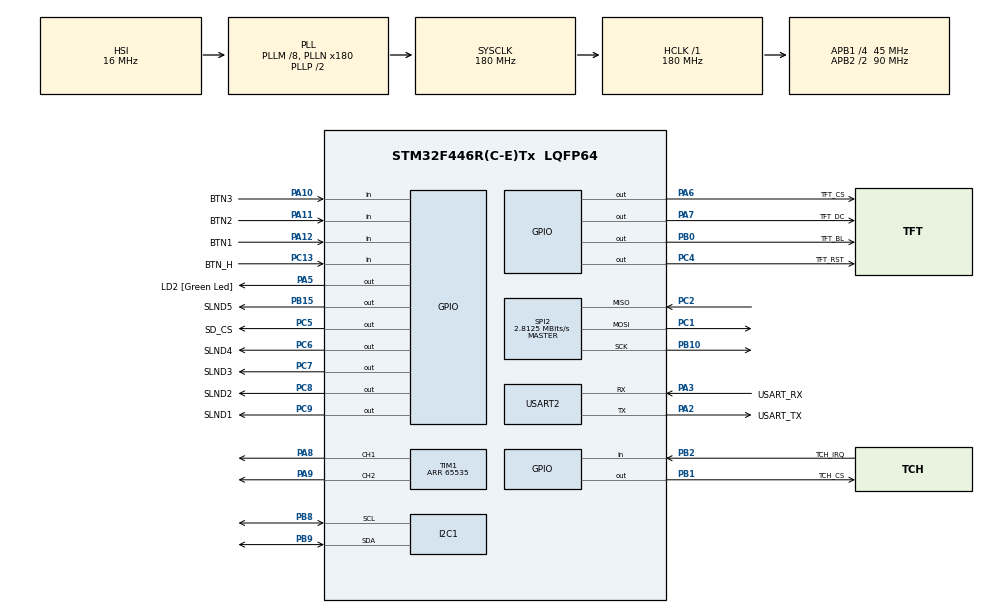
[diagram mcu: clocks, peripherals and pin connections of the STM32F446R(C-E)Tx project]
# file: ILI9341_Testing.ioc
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Dma.Request0=SPI2_TX
Dma.SPI2_TX.0.Direction=DMA_MEMORY_TO_PERIPH
Dma.SPI2_TX.0.FIFOMode=DMA_FIFOMODE_DISABLE
Dma.SPI2_TX.0.Instance=DMA1_Stream4
Dma.SPI2_TX.0.MemDataAlignment=DMA_MDATAALIGN_BYTE
Dma.SPI2_TX.0.MemInc=DMA_MINC_ENABLE
Dma.SPI2_TX.0.Mode=DMA_NORMAL
Dma.SPI2_TX.0.PeriphDataAlignment=DMA_PDATAALIGN_BYTE
Dma.SPI2_TX.0.PeriphInc=DMA_PINC_DISABLE
Dma.SPI2_TX.0.Priority=DMA_PRIORITY_LOW
I2C1.I2C_Mode=I2C_Fast
Mcu.Family=STM32F4
Mcu.Name=STM32F446R(C-E)Tx
Mcu.Package=LQFP64
NVIC.DMA1_Stream4_IRQn=true\:0\:0\:false\:false\:true\:false\:true\:true
NVIC.PriorityGroup=NVIC_PRIORITYGROUP_0
NVIC.TIM3_IRQn=true\:0\:0\:false\:false\:true\:true\:true\:true
NVIC.USART2_IRQn=true\:0\:0\:false\:false\:true\:true\:true\:true
PA10.GPIO_Label=BTN3
PA10.Signal=GPIO_Input
PA11.GPIO_Label=BTN2
PA11.Signal=GPIO_Input
PA12.GPIO_Label=BTN1
PA12.Signal=GPIO_Input
PA13.GPIO_Label=TMS
PA13.Mode=Serial_Wire
PA13.Signal=SYS_JTMS-SWDIO
PA14.GPIO_Label=TCK
PA14.Mode=Serial_Wire
PA14.Signal=SYS_JTCK-SWCLK
PA2.GPIO_Label=USART_TX
PA2.Mode=Asynchronous
PA2.Signal=USART2_TX
PA3.GPIO_Label=USART_RX
PA3.Mode=Asynchronous
PA3.Signal=USART2_RX
PA5.GPIO_Label=LD2 [Green Led]
PA5.Signal=GPIO_Output
PA6.GPIO_Label=TFT_CS
PA6.Signal=GPIO_Output
PA7.GPIO_Label=TFT_DC
PA7.Signal=GPIO_Output
PA8.Signal=S_TIM1_CH1
PA9.Signal=S_TIM1_CH2
PB0.GPIO_Label=TFT_BL
PB0.Signal=GPIO_Output
PB1.GPIO_Label=TCH_CS
PB1.Signal=GPIO_Output
PB10.Mode=Full_Duplex_Master
PB10.Signal=SPI2_SCK
PB15.GPIO_Label=SLND5
PB15.Signal=GPIO_Output
PB2.GPIO_Label=TCH_IRQ
PB2.GPIO_PuPd=GPIO_PULLUP
PB2.Signal=GPIO_Input
PB3.GPIO_Label=SWO
PB3.Signal=SYS_JTDO-SWO
PB8.Mode=I2C
PB8.Signal=I2C1_SCL
PB9.Mode=I2C
PB9.Signal=I2C1_SDA
PC1.Mode=Full_Duplex_Master
PC1.Signal=SPI2_MOSI
PC13.GPIO_Label=BTN_H
PC13.Signal=GPIO_Input
PC14-OSC32_IN.Mode=LSE-External-Oscillator
PC14-OSC32_IN.Signal=RCC_OSC32_IN
PC15-OSC32_OUT.Mode=LSE-External-Oscillator
PC15-OSC32_OUT.Signal=RCC_OSC32_OUT
PC2.Mode=Full_Duplex_Master
PC2.Signal=SPI2_MISO
PC4.GPIO_Label=TFT_RST
PC4.Signal=GPIO_Output
PC5.GPIO_Label=SD_CS
PC5.Signal=GPIO_Output
PC6.GPIO_Label=SLND4
PC6.Signal=GPIO_Output
PC7.GPIO_Label=SLND3
PC7.Signal=GPIO_Output
PC8.GPIO_Label=SLND2
PC8.Signal=GPIO_Output
PC9.GPIO_Label=SLND1
PC9.Signal=GPIO_Output
PH0-OSC_IN.Mode=HSE-External-Oscillator
PH0-OSC_IN.Signal=RCC_OSC_IN
PH1-OSC_OUT.Mode=HSE-External-Oscillator
PH1-OSC_OUT.Signal=RCC_OSC_OUT
ProjectManager.HeapSize=0x200
ProjectManager.StackSize=0x400
ProjectManager.TargetToolchain=CMake
RCC.48MHZClocksFreq_Value=84000000
RCC.AHBFreq_Value=180000000
RCC.APB1CLKDivider=RCC_HCLK_DIV4
RCC.APB1Freq_Value=45000000
RCC.APB1TimFreq_Value=90000000
RCC.APB2CLKDivider=RCC_HCLK_DIV2
RCC.APB2Freq_Value=90000000
RCC.APB2TimFreq_Value=180000000
RCC.CortexFreq_Value=180000000
RCC.FLatency-AdvancedSettings=FLASH_LATENCY_5
RCC.HCLKFreq_Value=180000000
RCC.HSE_VALUE=8000000
RCC.HSI_VALUE=16000000
RCC.PLLM=8
RCC.PLLN=180
RCC.SYSCLKFreq_VALUE=180000000
RCC.SYSCLKSource=RCC_SYSCLKSOURCE_PLLCLK
RCC.USBFreq_Value=180000000
RCC.VCOOutputFreq_Value=360000000
SH.S_TIM1_CH1.0=TIM1_CH1,PWM Generation1 CH1
SH.S_TIM1_CH2.0=TIM1_CH2,PWM Generation2 CH2
SPI2.BaudRatePrescaler=SPI_BAUDRATEPRESCALER_16
SPI2.CalculateBaudRate=2.8125 MBits/s
SPI2.Direction=SPI_DIRECTION_2LINES
SPI2.Mode=SPI_MODE_MASTER
SPI2.VirtualType=VM_MASTER
TIM1.Channel-PWM\ Generation1\ CH1=TIM_CHANNEL_1
TIM1.Channel-PWM\ Generation2\ CH2=TIM_CHANNEL_2
TIM1.Period=65535
TIM3.Period=99
TIM3.Prescaler=8999
USART2.VirtualMode=VM_ASYNC
VP_TIM1_VS_ClockSourceINT.Mode=Internal
VP_TIM3_VS_ClockSourceINT.Mode=Internal
board=NUCLEO-F446RE

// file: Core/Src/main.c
/* USER CODE BEGIN Header */
/**
  ******************************************************************************
  * @file           : main.c
  * @brief          : Main program body
  ******************************************************************************
  * @attention
  *
  * Copyright (c) 2026 STMicroelectronics.
  * All rights reserved.
  *
  * This software is licensed under terms that can be found in the LICENSE file
  * in the root directory of this software component.
  * If no LICENSE file comes with this software, it is provided AS-IS.
  *
  ******************************************************************************
   * ╔══════════════════════════════════════════════════════════════════════╗
   * ║       2.8" ILI9341 + XPT2046 + SD Card  ──  Nucleo-F446RE            ║
   * ╠══════════════════════════════════════════════════════════════════════╣
   * ║                                                                      ║
   * ║   Module                        STM32          Nucleo Header         ║
   * ║  ┌─────────┐                                                         ║
   * ║  │  T_IRQ  ├──────────────────  PB2            CN10 morpho           ║
   * ║  │  T_OUT  ├────────────────┐   PA6   ┐        CN7  morpho           ║
   * ║  │  T_DIN  ├──────────────┐ │   PA7   ┤        A4   (CN8)            ║
   * ║  │  T_CS   ├──────────────│─│─  PB1            CN10 morpho           ║
   * ║  │  T_CLK  ├────────────┐ │ │   PA5  ┐        D6   (CN5)             ║
   * ║  │  SDO    ├────────────│─│─┘   PA6   ┘ shared with T_OUT            ║
   * ║  │  LED    ├────────────│─│───  PB0            A3   (CN8)            ║
   * ║  │  SCK    ├────────────┘ │     PA5    shared with T_CLK             ║
   * ║  │  SDI    ├──────────────┘     PA7     shared with T_DIN            ║
   * ║  │  DC/RS  ├──────────────────  PA0            D11  (CN9)            ║
   * ║  │  RESET  ├──────────────────  PC4            CN10 morpho           ║
   * ║  │  CS     ├──────────────────  PA1            D12  (CN9)            ║
   * ║  │  GND    ├──────────────────  GND            any GND               ║
   * ║  │  VCC    ├──────────────────  3.3V           CN6  pin 4            ║
   * ║  └─────────┘                                                         ║
   * ║  │  SD_SCK   ├──────────────────  PA5         shared with T_CLK      ║
   * ║  │  SD_MOSI  ├──────────────────  PA7          shared with T_DIN     ║
   * ║  │  SD_MISO  ├──────────────────  PA6          shared with T_OUT     ║
   * ║  │  SD_CS    ├──────────────────  PC5          CN10 morpho           ║
   * ║  SPI2 shared bus:  SCK = PA5  │  MOSI = PA7  │  MISO = PA6           ║
   * ║  Connected These Pins Together Externally:                           ║
   * ║  SDO/T_OUT/SD_MISO  → same wire → PA6                                ║
   * ║  SDI/T_DIN/SD_MOSI  → same wire → PA7                                ║
   * ║  SCK/T_CLK/SD_SCK  → same wire → PA5                                 ║
   * ╚══════════════════════════════════════════════════════════════════════╝

/* USER CODE END Header */
#include "main.h"

/* USER CODE BEGIN Includes */
#include "ili9341.h"
#include "xpt2046.h"
#include "sd_spi.h"
#include <stdio.h>
#include <string.h>
/* USER CODE END Includes */

I2C_HandleTypeDef hi2c1;

SPI_HandleTypeDef hspi2;
DMA_HandleTypeDef hdma_spi2_tx;

TIM_HandleTypeDef htim1;
TIM_HandleTypeDef htim3;

UART_HandleTypeDef huart2;

/* USER CODE BEGIN PV */
static ILI9341_Config lcd_cfg;
static SD_Config      sd_cfg;
static SD_Info        sd_info;
static XPT2046_Config tch_cfg;
/* USER CODE END PV */

void SystemClock_Config(void);
static void MX_GPIO_Init(void);
static void MX_DMA_Init(void);
static void MX_TIM1_Init(void);
static void MX_USART2_UART_Init(void);
static void MX_TIM3_Init(void);
static void MX_I2C1_Init(void);
static void MX_SPI2_Init(void);

/* USER CODE BEGIN 0 */

// UART debug print
static void uprint(const char *s) {
    HAL_UART_Transmit(&huart2, (uint8_t*)s, strlen(s), HAL_MAX_DELAY);
}

// SPI speed control for SD card init (APB1 = 45 MHz)
static void spi_set_slow(void) {
    // ~350 kHz for SD card init (required <= 400 kHz)
    __HAL_SPI_DISABLE(&hspi2);
    MODIFY_REG(hspi2.Instance->CR1, SPI_CR1_BR, SPI_BAUDRATEPRESCALER_128);
    __HAL_SPI_ENABLE(&hspi2);
}
static void spi_set_fast(void) {
    // ~2.8 MHz for SD card data (restore default prescaler 16)
    __HAL_SPI_DISABLE(&hspi2);
    MODIFY_REG(hspi2.Instance->CR1, SPI_CR1_BR, SPI_BAUDRATEPRESCALER_16);
    __HAL_SPI_ENABLE(&hspi2);
}

// SPI2 Shared for LCD, Touchscreen, SD Card
static uint8_t spi2_txrx(uint8_t byte)
{
    uint8_t rx = 0;
    HAL_SPI_TransmitReceive(&hspi2, &byte, &rx, 1, HAL_MAX_DELAY);
    return rx;
}

// LCD GPIO
static void lcd_set_cs(int v)
{
    if (v) HAL_GPIO_WritePin(TFT_CS_GPIO_Port, TFT_CS_Pin, GPIO_PIN_SET);
    else   HAL_GPIO_WritePin(TFT_CS_GPIO_Port, TFT_CS_Pin, GPIO_PIN_RESET);
}

static void lcd_set_dc(int v)
{
    if (v) HAL_GPIO_WritePin(TFT_DC_GPIO_Port, TFT_DC_Pin, GPIO_PIN_SET);
    else   HAL_GPIO_WritePin(TFT_DC_GPIO_Port, TFT_DC_Pin, GPIO_PIN_RESET);
}

static void lcd_set_rst(int v)
{
    if (v) HAL_GPIO_WritePin(TFT_RST_GPIO_Port, TFT_RST_Pin, GPIO_PIN_SET);
    else   HAL_GPIO_WritePin(TFT_RST_GPIO_Port, TFT_RST_Pin, GPIO_PIN_RESET);
}

// SD Card GPIO
static void sd_set_cs(int v)
{
    if (v) HAL_GPIO_WritePin(SD_CS_GPIO_Port,  SD_CS_Pin, GPIO_PIN_SET);
    else   HAL_GPIO_WritePin(SD_CS_GPIO_Port,  SD_CS_Pin, GPIO_PIN_RESET);
}

// Touch Screen GPIO
static void tch_set_cs(int v)
{
    if (v) HAL_GPIO_WritePin(TCH_CS_GPIO_Port, TCH_CS_Pin, GPIO_PIN_SET);
    else   HAL_GPIO_WritePin(TCH_CS_GPIO_Port, TCH_CS_Pin, GPIO_PIN_RESET);
}

static int tch_read_irq(void)
{
    return HAL_GPIO_ReadPin(TCH_IRQ_GPIO_Port, TCH_IRQ_Pin);
}

/* USER CODE END 0 */

int main(void)
{

  /* MCU Configuration--------------------------------------------------------*/

  /* Reset of all peripherals, Initializes the Flash interface and the Systick. */
  HAL_Init();

  /* Configure the system clock */
  SystemClock_Config();

  /* Initialize all configured peripherals */
  MX_GPIO_Init();
  MX_DMA_Init();
  MX_TIM1_Init();
  MX_USART2_UART_Init();
  MX_TIM3_Init();
  MX_I2C1_Init();
  MX_SPI2_Init();
  /* USER CODE BEGIN 2 */

  // Deassert all SPI CS pins; hold LCD in hardware reset (draws ~0.1 mA
  // vs ~40 mA active) so the SD card gets the full current budget during init.
  lcd_set_cs(1);
  sd_set_cs(1);
  tch_set_cs(1);
  lcd_set_rst(0);   // ILI9341 in reset — minimal current draw
  HAL_GPIO_WritePin(TFT_BL_GPIO_Port, TFT_BL_Pin, GPIO_PIN_SET); // BL off

  // init SD card config (LCD not yet initialised)
  SD_Config sd_cfg = {
    .spi_txrx     = spi2_txrx,
    .spi_set_slow = spi_set_slow,
    .spi_set_fast = spi_set_fast,
    .set_cs       = sd_set_cs,
    .delay_ms     = HAL_Delay,
    .get_ms       = HAL_GetTick,
    .log          = uprint,
  };

  /* ── SD card init via driver ─────────────────────────────────────────── */
  /* Wait 4 s from power-on before first SPI touch — give the SD card's
   * internal controller time to complete its own startup.               */
  uprint("Waiting 1s for SD power-up...\r\n");
  HAL_Delay(1000);
  uprint("Running sd_init...\r\n");
  SD_Info sd_info;
  SD_Error sd_err = sd_init(&sd_cfg, &sd_info);
  {
    char tmp[40];
    snprintf(tmp, sizeof(tmp), "sd_init result: %s\r\n", sd_error_str(sd_err));
    uprint(tmp);
  }

  ILI9341_Config lcd_cfg = {
    .spi_txrx = spi2_txrx,
    .set_cs   = lcd_set_cs,
    .set_dc   = lcd_set_dc,
    .set_rst  = lcd_set_rst,
    .delay_ms = HAL_Delay,
    .rotation = ROTATION_0,
  };
  ili9341_init(&lcd_cfg);
  HAL_GPIO_WritePin(TFT_BL_GPIO_Port, TFT_BL_Pin, GPIO_PIN_SET);

  // init touchscreen
  XPT2046_Config tch_cfg = {
    .spi_txrx = spi2_txrx,
    .set_cs   = tch_set_cs,
    .read_irq = tch_read_irq,
  };
  xpt2046_init(&tch_cfg);
  xpt2046_default_cal(ILI9341_WIDTH, ILI9341_HEIGHT);

  if (sd_err == SD_OK) {
      ili9341_fill_rect(10, 60, 220, 20, COLOR_GREEN);
      ili9341_set_text_color(COLOR_BLACK, COLOR_GREEN);
      char sd_buf[40];
      snprintf(sd_buf, sizeof(sd_buf), "SD OK  %lluMB", sd_info.capacity_mb);
      ili9341_draw_string(20, 64, sd_buf);

      /* ── Read/Write Test ──────────────────────────────────────────────────
       * Write a known pattern to block 8 (safely past the MBR/partition
       * table), read it back and verify byte-for-byte.                     */
      static uint8_t wr_buf[512];
      static uint8_t rd_buf[512];
      for (int i = 0; i < 512; i++) wr_buf[i] = (uint8_t)(i & 0xFF);

      SD_Error we = sd_write_block(8, wr_buf);
      SD_Error re = sd_read_block(8, rd_buf);

      int mismatch = 0;
      if (we == SD_OK && re == SD_OK) {
          for (int i = 0; i < 512; i++) {
              if (rd_buf[i] != wr_buf[i]) { mismatch = i + 1; break; }
          }
      }

      if (we == SD_OK && re == SD_OK && mismatch == 0) {
          ili9341_fill_rect(10, 82, 220, 20, COLOR_GREEN);
          ili9341_set_text_color(COLOR_BLACK, COLOR_GREEN);
          ili9341_draw_string(20, 86, "RW Test PASSED");
      } else {
          ili9341_fill_rect(10, 82, 220, 20, COLOR_RED);
          ili9341_set_text_color(COLOR_WHITE, COLOR_RED);
          if (we != SD_OK)
              snprintf(sd_buf, sizeof(sd_buf), "Write ERR: %s", sd_error_str(we));
          else if (re != SD_OK)
              snprintf(sd_buf, sizeof(sd_buf), "Read ERR: %s", sd_error_str(re));
          else
              snprintf(sd_buf, sizeof(sd_buf), "Mismatch @byte %d", mismatch - 1);
          ili9341_draw_string(20, 86, sd_buf);
      }
  } else {
      char sd_buf[32];
      snprintf(sd_buf, sizeof(sd_buf), "SD: %s", sd_error_str(sd_err));
      ili9341_fill_rect(10, 60, 220, 40, COLOR_RED);
      ili9341_set_text_color(COLOR_WHITE, COLOR_RED);
      ili9341_draw_string(20, 74, sd_buf);
  }

  /* USER CODE END 2 */

  /* Infinite loop */
  while (1)
  {

    /* USER CODE BEGIN 3 */
    TouchPoint tp;
    uint16_t rx, ry, rz;
    xpt2046_raw(&rx, &ry, &rz);
    if (xpt2046_read(&tp)) {
      ili9341_fill_circle(tp.x, tp.y, 4, COLOR_YELLOW);
    }
  }
  /* USER CODE END 3 */
}

void SystemClock_Config(void)
{
  RCC_OscInitTypeDef RCC_OscInitStruct = {0};
  RCC_ClkInitTypeDef RCC_ClkInitStruct = {0};

  /** Configure the main internal regulator output voltage
  */
  __HAL_RCC_PWR_CLK_ENABLE();
  __HAL_PWR_VOLTAGESCALING_CONFIG(PWR_REGULATOR_VOLTAGE_SCALE1);

  /** Initializes the RCC Oscillators according to the specified parameters
  * in the RCC_OscInitTypeDef structure.
  */
  RCC_OscInitStruct.OscillatorType = RCC_OSCILLATORTYPE_HSI;
  RCC_OscInitStruct.HSIState = RCC_HSI_ON;
  RCC_OscInitStruct.HSICalibrationValue = RCC_HSICALIBRATION_DEFAULT;
  RCC_OscInitStruct.PLL.PLLState = RCC_PLL_ON;
  RCC_OscInitStruct.PLL.PLLSource = RCC_PLLSOURCE_HSI;
  RCC_OscInitStruct.PLL.PLLM = 8;
  RCC_OscInitStruct.PLL.PLLN = 180;
  RCC_OscInitStruct.PLL.PLLP = RCC_PLLP_DIV2;
  RCC_OscInitStruct.PLL.PLLQ = 2;
  RCC_OscInitStruct.PLL.PLLR = 2;
  if (HAL_RCC_OscConfig(&RCC_OscInitStruct) != HAL_OK)
  {
    Error_Handler();
  }

  /** Activate the Over-Drive mode
  */
  if (HAL_PWREx_EnableOverDrive() != HAL_OK)
  {
    Error_Handler();
  }

  /** Initializes the CPU, AHB and APB buses clocks
  */
  RCC_ClkInitStruct.ClockType = RCC_CLOCKTYPE_HCLK|RCC_CLOCKTYPE_SYSCLK
                              |RCC_CLOCKTYPE_PCLK1|RCC_CLOCKTYPE_PCLK2;
  RCC_ClkInitStruct.SYSCLKSource = RCC_SYSCLKSOURCE_PLLCLK;
  RCC_ClkInitStruct.AHBCLKDivider = RCC_SYSCLK_DIV1;
  RCC_ClkInitStruct.APB1CLKDivider = RCC_HCLK_DIV4;
  RCC_ClkInitStruct.APB2CLKDivider = RCC_HCLK_DIV2;

  if (HAL_RCC_ClockConfig(&RCC_ClkInitStruct, FLASH_LATENCY_5) != HAL_OK)
  {
    Error_Handler();
  }
}

static void MX_I2C1_Init(void)
{

  hi2c1.Instance = I2C1;
  hi2c1.Init.ClockSpeed = 400000;
  hi2c1.Init.DutyCycle = I2C_DUTYCYCLE_2;
  hi2c1.Init.OwnAddress1 = 0;
  hi2c1.Init.AddressingMode = I2C_ADDRESSINGMODE_7BIT;
  hi2c1.Init.DualAddressMode = I2C_DUALADDRESS_DISABLE;
  hi2c1.Init.OwnAddress2 = 0;
  hi2c1.Init.GeneralCallMode = I2C_GENERALCALL_DISABLE;
  hi2c1.Init.NoStretchMode = I2C_NOSTRETCH_DISABLE;
  if (HAL_I2C_Init(&hi2c1) != HAL_OK)
  {
    Error_Handler();
  }

}

static void MX_SPI2_Init(void)
{

  /* SPI2 parameter configuration*/
  hspi2.Instance = SPI2;
  hspi2.Init.Mode = SPI_MODE_MASTER;
  hspi2.Init.Direction = SPI_DIRECTION_2LINES;
  hspi2.Init.DataSize = SPI_DATASIZE_8BIT;
  hspi2.Init.CLKPolarity = SPI_POLARITY_LOW;
  hspi2.Init.CLKPhase = SPI_PHASE_1EDGE;
  hspi2.Init.NSS = SPI_NSS_SOFT;
  hspi2.Init.BaudRatePrescaler = SPI_BAUDRATEPRESCALER_16;
  hspi2.Init.FirstBit = SPI_FIRSTBIT_MSB;
  hspi2.Init.TIMode = SPI_TIMODE_DISABLE;
  hspi2.Init.CRCCalculation = SPI_CRCCALCULATION_DISABLE;
  hspi2.Init.CRCPolynomial = 10;
  if (HAL_SPI_Init(&hspi2) != HAL_OK)
  {
    Error_Handler();
  }

}

static void MX_TIM1_Init(void)
{

  TIM_ClockConfigTypeDef sClockSourceConfig = {0};
  TIM_MasterConfigTypeDef sMasterConfig = {0};
  TIM_OC_InitTypeDef sConfigOC = {0};
  TIM_BreakDeadTimeConfigTypeDef sBreakDeadTimeConfig = {0};

  htim1.Instance = TIM1;
  htim1.Init.Prescaler = 0;
  htim1.Init.CounterMode = TIM_COUNTERMODE_UP;
  htim1.Init.Period = 65535;
  htim1.Init.ClockDivision = TIM_CLOCKDIVISION_DIV1;
  htim1.Init.RepetitionCounter = 0;
  htim1.Init.AutoReloadPreload = TIM_AUTORELOAD_PRELOAD_DISABLE;
  if (HAL_TIM_Base_Init(&htim1) != HAL_OK)
  {
    Error_Handler();
  }
  sClockSourceConfig.ClockSource = TIM_CLOCKSOURCE_INTERNAL;
  if (HAL_TIM_ConfigClockSource(&htim1, &sClockSourceConfig) != HAL_OK)
  {
    Error_Handler();
  }
  if (HAL_TIM_PWM_Init(&htim1) != HAL_OK)
  {
    Error_Handler();
  }
  sMasterConfig.MasterOutputTrigger = TIM_TRGO_RESET;
  sMasterConfig.MasterSlaveMode = TIM_MASTERSLAVEMODE_DISABLE;
  if (HAL_TIMEx_MasterConfigSynchronization(&htim1, &sMasterConfig) != HAL_OK)
  {
    Error_Handler();
  }
  sConfigOC.OCMode = TIM_OCMODE_PWM1;
  sConfigOC.Pulse = 0;
  sConfigOC.OCPolarity = TIM_OCPOLARITY_HIGH;
  sConfigOC.OCNPolarity = TIM_OCNPOLARITY_HIGH;
  sConfigOC.OCFastMode = TIM_OCFAST_DISABLE;
  sConfigOC.OCIdleState = TIM_OCIDLESTATE_RESET;
  sConfigOC.OCNIdleState = TIM_OCNIDLESTATE_RESET;
  if (HAL_TIM_PWM_ConfigChannel(&htim1, &sConfigOC, TIM_CHANNEL_1) != HAL_OK)
  {
    Error_Handler();
  }
  if (HAL_TIM_PWM_ConfigChannel(&htim1, &sConfigOC, TIM_CHANNEL_2) != HAL_OK)
  {
    Error_Handler();
  }
  sBreakDeadTimeConfig.OffStateRunMode = TIM_OSSR_DISABLE;
  sBreakDeadTimeConfig.OffStateIDLEMode = TIM_OSSI_DISABLE;
  sBreakDeadTimeConfig.LockLevel = TIM_LOCKLEVEL_OFF;
  sBreakDeadTimeConfig.DeadTime = 0;
  sBreakDeadTimeConfig.BreakState = TIM_BREAK_DISABLE;
  sBreakDeadTimeConfig.BreakPolarity = TIM_BREAKPOLARITY_HIGH;
  sBreakDeadTimeConfig.AutomaticOutput = TIM_AUTOMATICOUTPUT_DISABLE;
  if (HAL_TIMEx_ConfigBreakDeadTime(&htim1, &sBreakDeadTimeConfig) != HAL_OK)
  {
    Error_Handler();
  }
  HAL_TIM_MspPostInit(&htim1);

}

static void MX_TIM3_Init(void)
{

  TIM_ClockConfigTypeDef sClockSourceConfig = {0};
  TIM_MasterConfigTypeDef sMasterConfig = {0};

  htim3.Instance = TIM3;
  htim3.Init.Prescaler = 8999;
  htim3.Init.CounterMode = TIM_COUNTERMODE_UP;
  htim3.Init.Period = 99;
  htim3.Init.ClockDivision = TIM_CLOCKDIVISION_DIV1;
  htim3.Init.AutoReloadPreload = TIM_AUTORELOAD_PRELOAD_DISABLE;
  if (HAL_TIM_Base_Init(&htim3) != HAL_OK)
  {
    Error_Handler();
  }
  sClockSourceConfig.ClockSource = TIM_CLOCKSOURCE_INTERNAL;
  if (HAL_TIM_ConfigClockSource(&htim3, &sClockSourceConfig) != HAL_OK)
  {
    Error_Handler();
  }
  sMasterConfig.MasterOutputTrigger = TIM_TRGO_RESET;
  sMasterConfig.MasterSlaveMode = TIM_MASTERSLAVEMODE_DISABLE;
  if (HAL_TIMEx_MasterConfigSynchronization(&htim3, &sMasterConfig) != HAL_OK)
  {
    Error_Handler();
  }

}

static void MX_USART2_UART_Init(void)
{

  huart2.Instance = USART2;
  huart2.Init.BaudRate = 115200;
  huart2.Init.WordLength = UART_WORDLENGTH_8B;
  huart2.Init.StopBits = UART_STOPBITS_1;
  huart2.Init.Parity = UART_PARITY_NONE;
  huart2.Init.Mode = UART_MODE_TX_RX;
  huart2.Init.HwFlowCtl = UART_HWCONTROL_NONE;
  huart2.Init.OverSampling = UART_OVERSAMPLING_16;
  if (HAL_UART_Init(&huart2) != HAL_OK)
  {
    Error_Handler();
  }

}

static void MX_DMA_Init(void)
{

  /* DMA controller clock enable */
  __HAL_RCC_DMA1_CLK_ENABLE();

  /* DMA interrupt init */
  /* DMA1_Stream4_IRQn interrupt configuration */
  HAL_NVIC_SetPriority(DMA1_Stream4_IRQn, 0, 0);
  HAL_NVIC_EnableIRQ(DMA1_Stream4_IRQn);

}

static void MX_GPIO_Init(void)
{
  GPIO_InitTypeDef GPIO_InitStruct = {0};

  /* GPIO Ports Clock Enable */
  __HAL_RCC_GPIOC_CLK_ENABLE();
  __HAL_RCC_GPIOH_CLK_ENABLE();
  __HAL_RCC_GPIOA_CLK_ENABLE();
  __HAL_RCC_GPIOB_CLK_ENABLE();

  /*Configure GPIO pin Output Level */
  HAL_GPIO_WritePin(GPIOA, LD2_Pin|TFT_CS_Pin|TFT_DC_Pin, GPIO_PIN_RESET);

  /*Configure GPIO pin Output Level */
  HAL_GPIO_WritePin(GPIOC, TFT_RST_Pin|SD_CS_Pin|SLND4_Pin|SLND3_Pin
                          |SLND2_Pin|SLND1_Pin, GPIO_PIN_RESET);

  /*Configure GPIO pin Output Level */
  HAL_GPIO_WritePin(GPIOB, TFT_BL_Pin|TCH_CS_Pin|SLND5_Pin, GPIO_PIN_RESET);

  /*Configure GPIO pin : BTN_H_Pin */
  GPIO_InitStruct.Pin = BTN_H_Pin;
  GPIO_InitStruct.Mode = GPIO_MODE_INPUT;
  GPIO_InitStruct.Pull = GPIO_NOPULL;
  HAL_GPIO_Init(BTN_H_GPIO_Port, &GPIO_InitStruct);

  /*Configure GPIO pins : LD2_Pin TFT_CS_Pin TFT_DC_Pin */
  GPIO_InitStruct.Pin = LD2_Pin|TFT_CS_Pin|TFT_DC_Pin;
  GPIO_InitStruct.Mode = GPIO_MODE_OUTPUT_PP;
  GPIO_InitStruct.Pull = GPIO_NOPULL;
  GPIO_InitStruct.Speed = GPIO_SPEED_FREQ_LOW;
  HAL_GPIO_Init(GPIOA, &GPIO_InitStruct);

  /*Configure GPIO pins : TFT_RST_Pin SD_CS_Pin SLND4_Pin SLND3_Pin
                           SLND2_Pin SLND1_Pin */
  GPIO_InitStruct.Pin = TFT_RST_Pin|SD_CS_Pin|SLND4_Pin|SLND3_Pin
                          |SLND2_Pin|SLND1_Pin;
  GPIO_InitStruct.Mode = GPIO_MODE_OUTPUT_PP;
  GPIO_InitStruct.Pull = GPIO_NOPULL;
  GPIO_InitStruct.Speed = GPIO_SPEED_FREQ_LOW;
  HAL_GPIO_Init(GPIOC, &GPIO_InitStruct);

  /*Configure GPIO pins : TFT_BL_Pin TCH_CS_Pin SLND5_Pin */
  GPIO_InitStruct.Pin = TFT_BL_Pin|TCH_CS_Pin|SLND5_Pin;
  GPIO_InitStruct.Mode = GPIO_MODE_OUTPUT_PP;
  GPIO_InitStruct.Pull = GPIO_NOPULL;
  GPIO_InitStruct.Speed = GPIO_SPEED_FREQ_LOW;
  HAL_GPIO_Init(GPIOB, &GPIO_InitStruct);

  /*Configure GPIO pin : TCH_IRQ_Pin */
  GPIO_InitStruct.Pin = TCH_IRQ_Pin;
  GPIO_InitStruct.Mode = GPIO_MODE_INPUT;
  GPIO_InitStruct.Pull = GPIO_PULLUP;
  HAL_GPIO_Init(TCH_IRQ_GPIO_Port, &GPIO_InitStruct);

  /*Configure GPIO pins : BTN3_Pin BTN2_Pin BTN1_Pin */
  GPIO_InitStruct.Pin = BTN3_Pin|BTN2_Pin|BTN1_Pin;
  GPIO_InitStruct.Mode = GPIO_MODE_INPUT;
  GPIO_InitStruct.Pull = GPIO_NOPULL;
  HAL_GPIO_Init(GPIOA, &GPIO_InitStruct);

}

void Error_Handler(void)
{
  __disable_irq();
  while (1)
  {
  }
}
